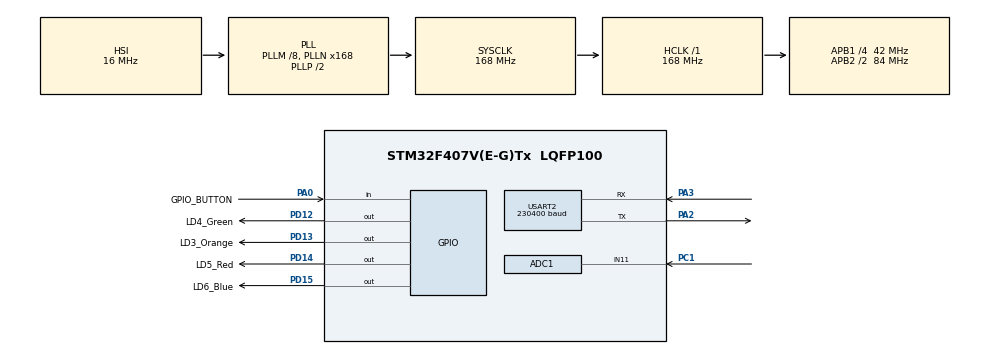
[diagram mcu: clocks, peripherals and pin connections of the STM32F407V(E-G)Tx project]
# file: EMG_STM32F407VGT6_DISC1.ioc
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ADC1.Channel-1\#ChannelRegularConversion=ADC_CHANNEL_11
ADC1.ClockPrescaler=ADC_CLOCK_SYNC_PCLK_DIV4
ADC1.ContinuousConvMode=DISABLE
ADC1.ExternalTrigConv=ADC_EXTERNALTRIGCONV_T2_TRGO
ADC1.NbrOfConversion=1
ADC1.NbrOfConversionFlag=1
ADC1.Rank-1\#ChannelRegularConversion=1
ADC1.SamplingTime-1\#ChannelRegularConversion=ADC_SAMPLETIME_15CYCLES
ADC1.master=1
Mcu.Family=STM32F4
Mcu.Name=STM32F407V(E-G)Tx
Mcu.Package=LQFP100
NVIC.ADC_IRQn=true\:0\:0\:false\:false\:true\:true\:true\:true
NVIC.PriorityGroup=NVIC_PRIORITYGROUP_4
NVIC.USART2_IRQn=true\:0\:0\:false\:false\:true\:true\:true\:true
PA0-WKUP.GPIO_Label=GPIO_BUTTON
PA0-WKUP.Signal=GPIO_Input
PA2.Mode=Asynchronous
PA2.Signal=USART2_TX
PA3.Mode=Asynchronous
PA3.Signal=USART2_RX
PC1.Signal=ADCx_IN11
PD12.GPIO_Label=LD4_Green
PD12.Signal=GPIO_Output
PD13.GPIO_Label=LD3_Orange
PD13.Signal=GPIO_Output
PD14.GPIO_Label=LD5_Red
PD14.Signal=GPIO_Output
PD15.GPIO_Label=LD6_Blue
PD15.Signal=GPIO_Output
ProjectManager.HeapSize=0x200
ProjectManager.StackSize=0x400
ProjectManager.TargetToolchain=STM32CubeIDE
RCC.48MHZClocksFreq_Value=84000000
RCC.AHBFreq_Value=168000000
RCC.APB1CLKDivider=RCC_HCLK_DIV4
RCC.APB1Freq_Value=42000000
RCC.APB1TimFreq_Value=84000000
RCC.APB2CLKDivider=RCC_HCLK_DIV2
RCC.APB2Freq_Value=84000000
RCC.APB2TimFreq_Value=168000000
RCC.CortexFreq_Value=168000000
RCC.HCLKFreq_Value=168000000
RCC.HSE_VALUE=25000000
RCC.HSI_VALUE=16000000
RCC.LSE_VALUE=32768
RCC.PLLM=8
RCC.PLLN=168
RCC.SYSCLKFreq_VALUE=168000000
RCC.SYSCLKSource=RCC_SYSCLKSOURCE_PLLCLK
RCC.VCOOutputFreq_Value=336000000
SH.ADCx_IN11.0=ADC1_IN11,IN11
TIM2.Channel-PWM\ Generation1\ No\ Output=TIM_CHANNEL_1
TIM2.Period=33600
TIM2.TIM_MasterOutputTrigger=TIM_TRGO_UPDATE
USART2.BaudRate=230400
USART2.VirtualMode=VM_ASYNC
VP_TIM2_VS_no_output1.Mode=PWM Generation1 No Output
board=custom

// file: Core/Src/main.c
/* USER CODE BEGIN Header */
/**
  ******************************************************************************
  * @file           : main.c
  * @brief          : Main program body
  ******************************************************************************
  * @attention
  *
  * Copyright (c) 2024 STMicroelectronics.
  * All rights reserved.
  *
  * This software is licensed under terms that can be found in the LICENSE file
  * in the root directory of this software component.
  * If no LICENSE file comes with this software, it is provided AS-IS.
  *
  ******************************************************************************
  */
/* USER CODE END Header */
#include "main.h"

/* USER CODE BEGIN Includes */
#include <stdio.h>
#include <string.h>
#include "config.h"
/* USER CODE END Includes */

/* USER CODE BEGIN PTD */
typedef struct {
    float buffer[FILTER_ORDER];
//	int32_t buffer[FILTER_ORDER];
    int index;
} CircularBuffer;

typedef struct {
    float x[N_B];  // Input buffer for the filter (last N_B inputs)
    float y[N_A];  // Output buffer for the filter (last N_A outputs)
    float b[N_B];  // Feedforward (numerator) coefficients
    float a[N_A];  // Feedback (denominator) coefficients
} IIRFilter;

/* USER CODE END PTD */

ADC_HandleTypeDef hadc1;
TIM_HandleTypeDef htim2;
UART_HandleTypeDef huart2;

/* USER CODE BEGIN PV */
CircularBuffer cb;
IIRFilter iir_filter;
uint16_t adc_val;
uint8_t filter_mode = 2;  // 0: RAW, 1: FIR, 2: IIR
float emg_signal_value;
char tx_buffer[BUFFER_SIZE];

// IIR coefficients
//float b[N_B] = {0.2338830860f, 0.4779879852f, -0.1929958334f, -0.8742014651f, -0.1929958334f, 0.4779879852f, 0.2338830860f};  // Original
//float a[N_A] = {1.0000000000f, -0.6428850253f, -0.5237171088f, -0.3489755644f, 0.3726139159f, 0.2511368452f, 0.0553759478f};  // Original
const float b[N_B] = {0.1651762524f, 0.5027477522f, 0.2012712266f, -0.7536913139f, -0.7536913139f, 0.2012712266f, 0.5027477522f, 0.1651762524f};
const float a[N_A] = {1.0000000000f, -0.3085240488f, -0.6293757301f, -0.6544344191f, 0.2395897197f, 0.3805531697f, 0.1760282862f, 0.0271708570f};

// FIR coefficients
const float fir_coefficients[FILTER_ORDER] = {
	0.000000, 0.000001, 0.000002, 0.000005, 0.000011, 0.000020, 0.000033, 0.000051, 0.000073, 0.000100,
	0.000130, 0.000162, 0.000192, 0.000218, 0.000236, 0.005187, 0.005801, 0.007612, 0.010539, 0.014451,
	0.019175, 0.024503, 0.030201, 0.036021, 0.041709, 0.047016, 0.051714, 0.055598, 0.058499, 0.060292,
	0.060898, 0.060292, 0.058499, 0.055598, 0.051714, 0.047016, 0.041709, 0.036021, 0.030201, 0.024503,
	0.019175, 0.014451, 0.010539, 0.007612, 0.005801, 0.005187, 0.000236, 0.000218, 0.000192, 0.000162,
	0.000130, 0.000100, 0.000073, 0.000051, 0.000033, 0.000020, 0.000011, 0.000005, 0.000002, 0.000001,
	0.000000
};

/* USER CODE END PV */

void SystemClock_Config(void);
static void MX_GPIO_Init(void);
static void MX_USART2_UART_Init(void);
static void MX_ADC1_Init(void);
static void MX_TIM2_Init(void);
/* USER CODE BEGIN PFP */
void HAL_ADC_ConvCpltCallback(ADC_HandleTypeDef *hadc);
/* USER CODE END PFP */

/* USER CODE BEGIN 0 */

void IIRFilter_Init(IIRFilter *filter, const float b[], const float a[]) {
    for (int i = 0; i < N_B; i++) {
        filter->b[i] = b[i];
        filter->x[i] = 0.0f;  // Initialize input buffer to 0
    }
    for (int i = 0; i < N_A; i++) {
        filter->a[i] = a[i];
        filter->y[i] = 0.0f;  // Initialize output buffer to 0
    }
}

void CircularBuffer_Init(CircularBuffer* cb) {
    memset(cb->buffer, 0.0f, sizeof(cb->buffer));
    cb->index = 0.0f;
}

float IIR_Filter(IIRFilter *filter, float input) {
    // Shift the input buffer to make room for the new sample
    for (int i = N_B - 1; i > 0; i--) {
        filter->x[i] = filter->x[i - 1];
    }
    filter->x[0] = input;  // Store the new input sample at the beginning of the buffer

    // Calculate the output sample using the IIR difference equation
    float output = 0.0f;

    // Feedforward part (b[] coefficients)
    for (int i = 0; i < N_B; i++) {
        output += filter->b[i] * filter->x[i];
    }

    // Feedback part (a[] coefficients)
    for (int i = 1; i < N_A; i++) {
        output -= filter->a[i] * filter->y[i];
    }

    // Normalize by the first coefficient of 'a' (if not zero)
    if (filter->a[0] != 0.0f) {
        output /= filter->a[0];
    }

    // Shift the output buffer to make room for the new output sample
    for (int i = N_A - 1; i > 0; i--) {
        filter->y[i] = filter->y[i - 1];
    }
    filter->y[0] = output;  // Store the new output sample at the beginning of the buffer

    return output * EMG_MAX_VOLTAGE;
}

float FIR_Filter(CircularBuffer* cb, float input) {
    float sum = 0.0f;

    // Update buffer with new input
    cb->buffer[cb->index] = input;

    int idx = cb->index;
    for (int i = 0; i < FILTER_ORDER; i++) {
        sum += cb->buffer[idx] * fir_coefficients[i];
        idx = (idx == 0) ? (FILTER_ORDER - 1) : (idx - 1);
    }

    cb->index = (cb->index + 1) % FILTER_ORDER;

    return sum * EMG_MAX_VOLTAGE;
}

void Update_LED_Indicator(void)
{
	HAL_GPIO_WritePin(GPIOD, LD4_Green_Pin|LD3_Orange_Pin|LD5_Red_Pin|LD6_Blue_Pin, GPIO_PIN_RESET);

	// Set LED based on the active filter mode
	if (filter_mode == 0) {
		HAL_GPIO_WritePin(GPIOD, LD6_Blue_Pin, GPIO_PIN_SET);   // Blue LED for RAW mode
	} else if (filter_mode == 1) {
		HAL_GPIO_WritePin(GPIOD, LD5_Red_Pin, GPIO_PIN_SET);  // Green LED for FIR mode
	} else if (filter_mode == 2) {
		HAL_GPIO_WritePin(GPIOD, LD3_Orange_Pin, GPIO_PIN_SET); // Orange LED for IIR mode
	}
}

void Poll_Button(void)
{
	if (HAL_GPIO_ReadPin(GPIO_BUTTON_GPIO_Port, GPIO_BUTTON_Pin) == GPIO_PIN_RESET) {
		HAL_Delay(DEBOUNCE_DELAY); // Debounce delay
		if (HAL_GPIO_ReadPin(GPIO_BUTTON_GPIO_Port, GPIO_BUTTON_Pin) == GPIO_PIN_RESET) {
			filter_mode = (filter_mode + 1) % 3;  // Cycle through 0 (RAW), 1 (FIR), 2 (IIR)
			Update_LED_Indicator(); // Update LEDs based on the current mode
			while (HAL_GPIO_ReadPin(GPIO_BUTTON_GPIO_Port, GPIO_BUTTON_Pin) == GPIO_PIN_RESET); // Wait for button release
		}
	}
}

void HAL_ADC_ConvCpltCallback(ADC_HandleTypeDef *hadc)
{
    // Get the ADC value
	uint16_t adc_val = HAL_ADC_GetValue(&hadc1);
    float voltage = REF_VOLTAGE * adc_val / ADC_MAX_VAL - DC_BIAS;

    if (filter_mode == 0) {
    	// RAW signal, no filtering just voltage scaling
    	emg_signal_value = voltage * EMG_MAX_VOLTAGE;
    } else if (filter_mode == 1) {
    	// FIR filtering
    	emg_signal_value = FIR_Filter(&cb, voltage);
    } else if (filter_mode == 2) {
    	// IIR filtering
    	emg_signal_value = IIR_Filter(&iir_filter, voltage);
    }

    // Send the processed signal value over UART
    snprintf(tx_buffer, sizeof(tx_buffer), "%.6f\r\n", emg_signal_value);
    HAL_UART_Transmit(&huart2, (uint8_t*) tx_buffer, strlen(tx_buffer), HAL_MAX_DELAY);

    // Toggle the Green LED to indicate ADC activity
    HAL_GPIO_TogglePin(GPIOD, LD4_Green_Pin);
}

/* USER CODE END 0 */

int main(void)
{

  /* USER CODE BEGIN 1 */
  CircularBuffer_Init(&cb);
  IIRFilter_Init(&iir_filter, b, a);
  /* USER CODE END 1 */

  /* MCU Configuration--------------------------------------------------------*/

  /* Reset of all peripherals, Initializes the Flash interface and the Systick. */
  HAL_Init();

  /* Configure the system clock */
  SystemClock_Config();

  /* Initialize all configured peripherals */
  MX_GPIO_Init();
  MX_USART2_UART_Init();
  MX_ADC1_Init();
  MX_TIM2_Init();
  /* USER CODE BEGIN 2 */
  if(HAL_TIM_PWM_Start(&htim2, TIM_CHANNEL_1) != HAL_OK)
	  Error_Handler();

  if(HAL_ADC_Start_IT(&hadc1) != HAL_OK)
  	  	  Error_Handler();
  /* USER CODE END 2 */

  /* Infinite loop */
  /* USER CODE BEGIN WHILE */
  while (1)
  {
	  Poll_Button(); // Poll button state and update filter flag

	  HAL_Delay(10); // Small delay to avoid rapid polling
  }
  /* USER CODE END WHILE */

}

void SystemClock_Config(void)
{
  RCC_OscInitTypeDef RCC_OscInitStruct = {0};
  RCC_ClkInitTypeDef RCC_ClkInitStruct = {0};

  /** Configure the main internal regulator output voltage
  */
  __HAL_RCC_PWR_CLK_ENABLE();
  __HAL_PWR_VOLTAGESCALING_CONFIG(PWR_REGULATOR_VOLTAGE_SCALE1);

  /** Initializes the RCC Oscillators according to the specified parameters
  * in the RCC_OscInitTypeDef structure.
  */
  RCC_OscInitStruct.OscillatorType = RCC_OSCILLATORTYPE_HSI;
  RCC_OscInitStruct.HSIState = RCC_HSI_ON;
  RCC_OscInitStruct.HSICalibrationValue = RCC_HSICALIBRATION_DEFAULT;
  RCC_OscInitStruct.PLL.PLLState = RCC_PLL_ON;
  RCC_OscInitStruct.PLL.PLLSource = RCC_PLLSOURCE_HSI;
  RCC_OscInitStruct.PLL.PLLM = 8;
  RCC_OscInitStruct.PLL.PLLN = 168;
  RCC_OscInitStruct.PLL.PLLP = RCC_PLLP_DIV2;
  RCC_OscInitStruct.PLL.PLLQ = 4;
  if (HAL_RCC_OscConfig(&RCC_OscInitStruct) != HAL_OK)
  {
    Error_Handler();
  }

  /** Initializes the CPU, AHB and APB buses clocks
  */
  RCC_ClkInitStruct.ClockType = RCC_CLOCKTYPE_HCLK|RCC_CLOCKTYPE_SYSCLK
                              |RCC_CLOCKTYPE_PCLK1|RCC_CLOCKTYPE_PCLK2;
  RCC_ClkInitStruct.SYSCLKSource = RCC_SYSCLKSOURCE_PLLCLK;
  RCC_ClkInitStruct.AHBCLKDivider = RCC_SYSCLK_DIV1;
  RCC_ClkInitStruct.APB1CLKDivider = RCC_HCLK_DIV4;
  RCC_ClkInitStruct.APB2CLKDivider = RCC_HCLK_DIV2;

  if (HAL_RCC_ClockConfig(&RCC_ClkInitStruct, FLASH_LATENCY_5) != HAL_OK)
  {
    Error_Handler();
  }
}

static void MX_ADC1_Init(void)
{

  ADC_ChannelConfTypeDef sConfig = {0};

  /** Configure the global features of the ADC (Clock, Resolution, Data Alignment and number of conversion)
  */
  hadc1.Instance = ADC1;
  hadc1.Init.ClockPrescaler = ADC_CLOCK_SYNC_PCLK_DIV4;
  hadc1.Init.Resolution = ADC_RESOLUTION_12B;
  hadc1.Init.ScanConvMode = DISABLE;
  hadc1.Init.ContinuousConvMode = DISABLE;
  hadc1.Init.DiscontinuousConvMode = DISABLE;
  hadc1.Init.ExternalTrigConvEdge = ADC_EXTERNALTRIGCONVEDGE_RISING;
  hadc1.Init.ExternalTrigConv = ADC_EXTERNALTRIGCONV_T2_TRGO;
  hadc1.Init.DataAlign = ADC_DATAALIGN_RIGHT;
  hadc1.Init.NbrOfConversion = 1;
  hadc1.Init.DMAContinuousRequests = DISABLE;
  hadc1.Init.EOCSelection = ADC_EOC_SINGLE_CONV;
  if (HAL_ADC_Init(&hadc1) != HAL_OK)
  {
    Error_Handler();
  }

  /** Configure for the selected ADC regular channel its corresponding rank in the sequencer and its sample time.
  */
  sConfig.Channel = ADC_CHANNEL_11;
  sConfig.Rank = 1;
  sConfig.SamplingTime = ADC_SAMPLETIME_15CYCLES;
  if (HAL_ADC_ConfigChannel(&hadc1, &sConfig) != HAL_OK)
  {
    Error_Handler();
  }

}

static void MX_TIM2_Init(void)
{

  TIM_MasterConfigTypeDef sMasterConfig = {0};
  TIM_OC_InitTypeDef sConfigOC = {0};

  htim2.Instance = TIM2;
  htim2.Init.Prescaler = 0;
  htim2.Init.CounterMode = TIM_COUNTERMODE_UP;
  htim2.Init.Period = 56000;
  htim2.Init.ClockDivision = TIM_CLOCKDIVISION_DIV1;
  htim2.Init.AutoReloadPreload = TIM_AUTORELOAD_PRELOAD_DISABLE;
  if (HAL_TIM_PWM_Init(&htim2) != HAL_OK)
  {
    Error_Handler();
  }
  sMasterConfig.MasterOutputTrigger = TIM_TRGO_UPDATE;
  sMasterConfig.MasterSlaveMode = TIM_MASTERSLAVEMODE_DISABLE;
  if (HAL_TIMEx_MasterConfigSynchronization(&htim2, &sMasterConfig) != HAL_OK)
  {
    Error_Handler();
  }
  sConfigOC.OCMode = TIM_OCMODE_PWM1;
  sConfigOC.Pulse = 0;
  sConfigOC.OCPolarity = TIM_OCPOLARITY_HIGH;
  sConfigOC.OCFastMode = TIM_OCFAST_DISABLE;
  if (HAL_TIM_PWM_ConfigChannel(&htim2, &sConfigOC, TIM_CHANNEL_1) != HAL_OK)
  {
    Error_Handler();
  }

}

static void MX_USART2_UART_Init(void)
{

  huart2.Instance = USART2;
//  huart2.Init.BaudRate = 115200;
  huart2.Init.BaudRate = 460800;
  huart2.Init.WordLength = UART_WORDLENGTH_8B;
  huart2.Init.StopBits = UART_STOPBITS_1;
  huart2.Init.Parity = UART_PARITY_NONE;
  huart2.Init.Mode = UART_MODE_TX_RX;
  huart2.Init.HwFlowCtl = UART_HWCONTROL_NONE;
  huart2.Init.OverSampling = UART_OVERSAMPLING_16;
  if (HAL_UART_Init(&huart2) != HAL_OK)
  {
    Error_Handler();
  }

}

static void MX_GPIO_Init(void)
{
  GPIO_InitTypeDef GPIO_InitStruct = {0};

  /* GPIO Ports Clock Enable */
  __HAL_RCC_GPIOC_CLK_ENABLE();
  __HAL_RCC_GPIOA_CLK_ENABLE();
  __HAL_RCC_GPIOD_CLK_ENABLE();

  /*Configure GPIO pin Output Level */
  HAL_GPIO_WritePin(GPIOD, LD4_Green_Pin|LD3_Orange_Pin|LD5_Red_Pin|LD6_Blue_Pin, GPIO_PIN_RESET);

  /*Configure GPIO pin : GPIO_BUTTON_Pin */
  GPIO_InitStruct.Pin = GPIO_BUTTON_Pin;
  GPIO_InitStruct.Mode = GPIO_MODE_INPUT;
  GPIO_InitStruct.Pull = GPIO_NOPULL;
  HAL_GPIO_Init(GPIO_BUTTON_GPIO_Port, &GPIO_InitStruct);

  /*Configure GPIO pins : LD4_Green_Pin LD3_Orange_Pin LD5_Red_Pin LD6_Blue_Pin */
  GPIO_InitStruct.Pin = LD4_Green_Pin|LD3_Orange_Pin|LD5_Red_Pin|LD6_Blue_Pin;
  GPIO_InitStruct.Mode = GPIO_MODE_OUTPUT_PP;
  GPIO_InitStruct.Pull = GPIO_NOPULL;
  GPIO_InitStruct.Speed = GPIO_SPEED_FREQ_LOW;
  HAL_GPIO_Init(GPIOD, &GPIO_InitStruct);

}

void Error_Handler(void)
{
  __disable_irq();
  while (1)
  {
  }
}
